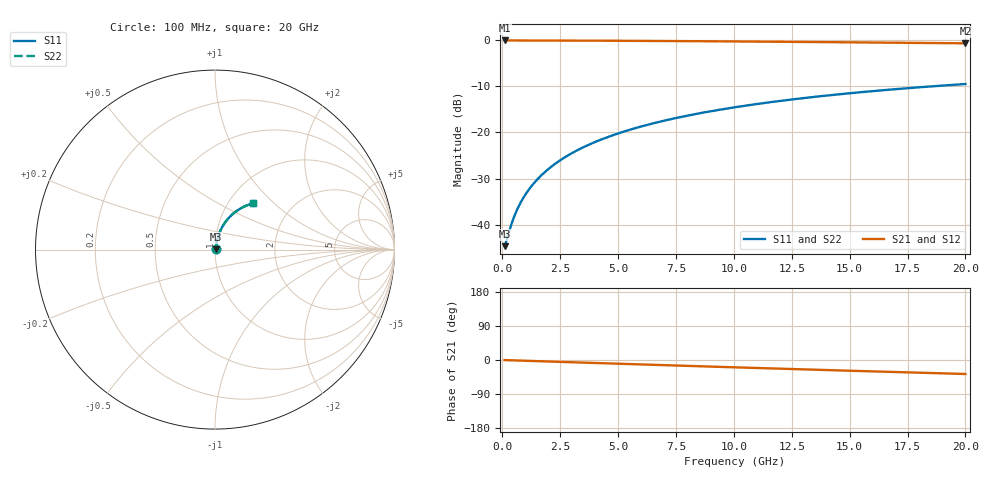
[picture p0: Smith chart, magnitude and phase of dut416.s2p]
! Touchstone file exported from HFSS 2026.1.0
!  File:  C:/ffzhzh/LocalFiles/Ansys_Project_Files/temp_train_BSMRDL_416_1783012633_46388.aedt
!  Generated:  01:18:30 AM Jul  3, 2026
!  Design:  BSMRDL
!  Project:  temp_train_BSMRDL_416_1783012633_46388
! Variables:
!  h_bsmrdl = 3.35um
!  h_ox = 20um
!  h_rdl = 5um
!  h_sub = 80um
!  h_tmrdl = 5um
!  h_tsv = 80um
!  h_via = 3um
!  l_bsmrdl = 560.69um
!  l_sub = 960.69um
!  l_tmrdl = 200um
!  m_sub = 200um
!  pitch = 26.11um
!  r_tsv = 6um
!  s_tmrdl = 10um
!  w_bsmrdl = 11.01um
!  w_sub = 500um
!  w_tmrdl = 12um
!  x_tsv_center1 = 206um
!  x_tsv_center2 = 777.7um
!  x_tsv_center3 = 989.7um
!  x_tsv_center4 = 1561.4um
!  x_tsv_center5 = 1773.4um
!  x_tsv_center6 = 2345.1um
# GHz S MA R 50.000000
! Terminal data exported
! Port[1] = BSM_RDL1_1_T1
! Port[2] = BSM_RDL1_1_T2
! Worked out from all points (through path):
!   200 points, 100 MHz to 20 GHz, reference 50 ohm
!   highest |S21| = -0.05 dB at 100 MHz (marker M1); lowest = -0.7 dB at 20 GHz (marker M2)
!   group delay of S21, straight-line fit = 5.13 ps
!   lowest |S11| = -44.7 dB at 100 MHz (marker M3), VSWR 1.01, Z = 50.5 + j0.215 ohm
!   |S11| at or under -10 dB: start of sweep to 18.56 GHz
!   |S22| runs from -44.7 to -9.5 dB; largest |S21 - S12| = 2.8e-15
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0.1  0.005834 21.4  0.9946 -0.2  0.9946 -0.2  0.005834 21.4
! Gamma 0 0 0 0
! Port Impedance 50 0 50 0
0.4  0.01019 55.0  0.9942 -0.8  0.9942 -0.8  0.01019 55.0
0.5  0.01197 59.7  0.9941 -1.0  0.9941 -1.0  0.01197 59.7
0.6  0.01379 63.1  0.994 -1.2  0.994 -1.2  0.01379 63.1
0.7  0.01563 65.7  0.9938 -1.4  0.9938 -1.4  0.01563 65.7
0.9  0.01934 69.4  0.9936 -1.8  0.9936 -1.8  0.01934 69.4
1.1  0.0231 71.8  0.9934 -2.2  0.9934 -2.2  0.0231 71.8
1.3  0.02688 73.4  0.9932 -2.6  0.9932 -2.6  0.02688 73.4
1.7  0.0345 75.5  0.9928 -3.4  0.9928 -3.4  0.0345 75.5
2.2  0.04408 76.7  0.9922 -4.4  0.9922 -4.4  0.04408 76.7
2.8  0.05561 77.1  0.9913 -5.5  0.9913 -5.5  0.05561 77.1
3.5  0.06902 76.9  0.9902 -6.9  0.9902 -6.9  0.06902 76.9
4.2  0.08235 76.2  0.9888 -8.3  0.9888 -8.3  0.08235 76.2
5  0.09742 75.2  0.9869 -9.8  0.9869 -9.8  0.09742 75.3
5.9  0.1142 73.9  0.9845 -11.6  0.9845 -11.6  0.1142 74.0
6.8  0.1306 72.5  0.9819 -13.3  0.9819 -13.3  0.1306 72.5
8.3  0.1574 70.0  0.977 -16.1  0.977 -16.1  0.1574 70.0
10.1  0.1884 66.9  0.9703 -19.5  0.9703 -19.5  0.1884 66.9
11.7  0.2148 64.2  0.9639 -22.4  0.9639 -22.4  0.2148 64.2
13.4  0.2418 61.3  0.9566 -25.5  0.9566 -25.5  0.2418 61.3
16.7  0.2907 55.7  0.9416 -31.3  0.9416 -31.3  0.2906 55.8
20  0.3349 50.3  0.926 -36.9  0.926 -36.9  0.3349 50.4
